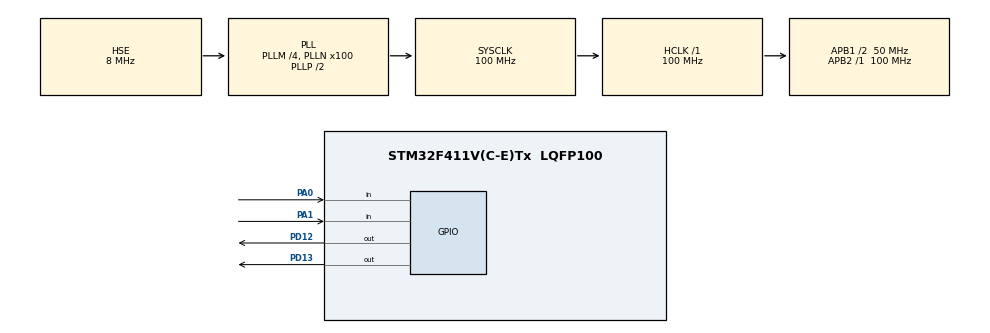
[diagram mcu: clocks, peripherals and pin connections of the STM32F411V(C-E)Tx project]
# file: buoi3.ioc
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Mcu.Family=STM32F4
Mcu.Name=STM32F411V(C-E)Tx
Mcu.Package=LQFP100
NVIC.PriorityGroup=NVIC_PRIORITYGROUP_4
PA0-WKUP.GPIO_PuPd=GPIO_PULLDOWN
PA0-WKUP.Signal=GPIO_Input
PA1.GPIO_PuPd=GPIO_PULLUP
PA1.Signal=GPIO_Input
PA13.Mode=Serial_Wire
PA13.Signal=SYS_JTMS-SWDIO
PA14.Mode=Serial_Wire
PA14.Signal=SYS_JTCK-SWCLK
PD12.Signal=GPIO_Output
PD13.Signal=GPIO_Output
PH0\ -\ OSC_IN.Mode=HSE-External-Oscillator
PH0\ -\ OSC_IN.Signal=RCC_OSC_IN
PH1\ -\ OSC_OUT.Mode=HSE-External-Oscillator
PH1\ -\ OSC_OUT.Signal=RCC_OSC_OUT
ProjectManager.HeapSize=0x200
ProjectManager.StackSize=0x400
ProjectManager.TargetToolchain=MDK-ARM V5.27
RCC.48MHZClocksFreq_Value=50000000
RCC.AHBFreq_Value=100000000
RCC.APB1CLKDivider=RCC_HCLK_DIV2
RCC.APB1Freq_Value=50000000
RCC.APB1TimFreq_Value=100000000
RCC.APB2Freq_Value=100000000
RCC.APB2TimFreq_Value=100000000
RCC.CortexFreq_Value=100000000
RCC.HCLKFreq_Value=100000000
RCC.HSE_VALUE=8000000
RCC.HSI_VALUE=16000000
RCC.LSE_VALUE=32768
RCC.PLLM=4
RCC.PLLN=100
RCC.PLLSourceVirtual=RCC_PLLSOURCE_HSE
RCC.SYSCLKFreq_VALUE=100000000
RCC.SYSCLKSource=RCC_SYSCLKSOURCE_PLLCLK
RCC.VCOOutputFreq_Value=200000000
board=custom

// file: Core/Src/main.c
#include "main.h"
#include "gpio.h"

/* USER CODE BEGIN PTD */
int n,m;
uint16_t a,b,c,d;
uint16_t x,i,mode;
/* USER CODE END PTD */

void SystemClock_Config(void);
/* USER CODE BEGIN 0 */
void batled(int n,int c){
if(n==2){
						HAL_GPIO_WritePin(GPIOD,GPIO_PIN_12,GPIO_PIN_SET);
						HAL_GPIO_WritePin(GPIOD,GPIO_PIN_13,GPIO_PIN_SET);
						HAL_Delay(c);
						HAL_GPIO_WritePin(GPIOD,GPIO_PIN_12,GPIO_PIN_RESET);
						HAL_GPIO_WritePin(GPIOD,GPIO_PIN_13,GPIO_PIN_RESET);
						HAL_Delay(20-c);
			}
if(n==1){
						HAL_GPIO_WritePin(GPIOD,GPIO_PIN_12,GPIO_PIN_SET);
						HAL_Delay(c);
						HAL_GPIO_WritePin(GPIOD,GPIO_PIN_12,GPIO_PIN_RESET);
						HAL_Delay(20-c);
			}
if(n==0){

						HAL_GPIO_WritePin(GPIOD,GPIO_PIN_13,GPIO_PIN_SET);
						HAL_Delay(c);
						HAL_GPIO_WritePin(GPIOD,GPIO_PIN_13,GPIO_PIN_RESET);
						HAL_Delay(20-c);
			}
}
void tatled(int n){
	if(n==0) HAL_GPIO_WritePin(GPIOD,GPIO_PIN_13,GPIO_PIN_RESET);
	if(n==1) HAL_GPIO_WritePin(GPIOD,GPIO_PIN_12,GPIO_PIN_RESET);
	if(n==0) {
		HAL_GPIO_WritePin(GPIOD,GPIO_PIN_13,GPIO_PIN_RESET);
		HAL_GPIO_WritePin(GPIOD,GPIO_PIN_13,GPIO_PIN_RESET);
	}
}
void nut1(int i)
{

}
/* USER CODE END 0 */
int main(void)
{

  HAL_Init();
  SystemClock_Config();
  MX_GPIO_Init();
  /* USER CODE BEGIN 2 */
	c=10;
	mode=1;
  /* USER CODE END 2 */
  while (1)
  {

    /* USER CODE BEGIN 3 */
		if(HAL_GPIO_ReadPin(GPIOA,GPIO_PIN_0)==1)x=1;
				if(x==1){
						i++;
						if(m==0) HAL_Delay(20);
						if(HAL_GPIO_ReadPin(GPIOA,GPIO_PIN_0)==0)x=0;
				}
				if(0<i&&i<30&&x==0){
						n++;
						if(n>=3)n=0;
						i=0;
				}
				if(i>=30&&x==0) {
							m++;
							if(m>=2)m=0;
							if(x==0)i=0;
					}
		if(HAL_GPIO_ReadPin(GPIOA,GPIO_PIN_1)==0)a=1;
				if(a==1){
						b++;
						if(m==0) HAL_Delay(20);
						if(HAL_GPIO_ReadPin(GPIOA,GPIO_PIN_1)==1) a=2;
					}
					if(0<b&&b<40&&a==2){
							if(mode==1) c=c+5;
							if(mode==0) c=c-5;
							b=0;
					}
						if(b>=40) {
							if(mode==1){
								if(c<20){
									c=c+5;
									b=0;
									}
								}
									if(mode==0){
									if(c>0){
									c=c-5;
									b=0;
									if(c>20) c=0;
									}
								}
						}
					if(b>40&&a==2)b=0;
					if(c>=20&&a==2) mode=0;
					if(c<=0&&a==2) {
						mode=1;
						m=0;
					}
					if(c>0&&a==1)	m=1;
					if(m==1&&c!=0) batled(n,c);
					if(m==0) tatled(n);

	}
  /* USER CODE END 3 */
}

void SystemClock_Config(void)
{
  RCC_OscInitTypeDef RCC_OscInitStruct = {0};
  RCC_ClkInitTypeDef RCC_ClkInitStruct = {0};

  __HAL_RCC_PWR_CLK_ENABLE();
  __HAL_PWR_VOLTAGESCALING_CONFIG(PWR_REGULATOR_VOLTAGE_SCALE1);

  RCC_OscInitStruct.OscillatorType = RCC_OSCILLATORTYPE_HSE;
  RCC_OscInitStruct.HSEState = RCC_HSE_ON;
  RCC_OscInitStruct.PLL.PLLState = RCC_PLL_ON;
  RCC_OscInitStruct.PLL.PLLSource = RCC_PLLSOURCE_HSE;
  RCC_OscInitStruct.PLL.PLLM = 4;
  RCC_OscInitStruct.PLL.PLLN = 100;
  RCC_OscInitStruct.PLL.PLLP = RCC_PLLP_DIV2;
  RCC_OscInitStruct.PLL.PLLQ = 4;
  if (HAL_RCC_OscConfig(&RCC_OscInitStruct) != HAL_OK)
  {
    Error_Handler();
  }

  RCC_ClkInitStruct.ClockType = RCC_CLOCKTYPE_HCLK|RCC_CLOCKTYPE_SYSCLK
                              |RCC_CLOCKTYPE_PCLK1|RCC_CLOCKTYPE_PCLK2;
  RCC_ClkInitStruct.SYSCLKSource = RCC_SYSCLKSOURCE_PLLCLK;
  RCC_ClkInitStruct.AHBCLKDivider = RCC_SYSCLK_DIV1;
  RCC_ClkInitStruct.APB1CLKDivider = RCC_HCLK_DIV2;
  RCC_ClkInitStruct.APB2CLKDivider = RCC_HCLK_DIV1;

  if (HAL_RCC_ClockConfig(&RCC_ClkInitStruct, FLASH_LATENCY_3) != HAL_OK)
  {
    Error_Handler();
  }
}

void Error_Handler(void)
{

}
